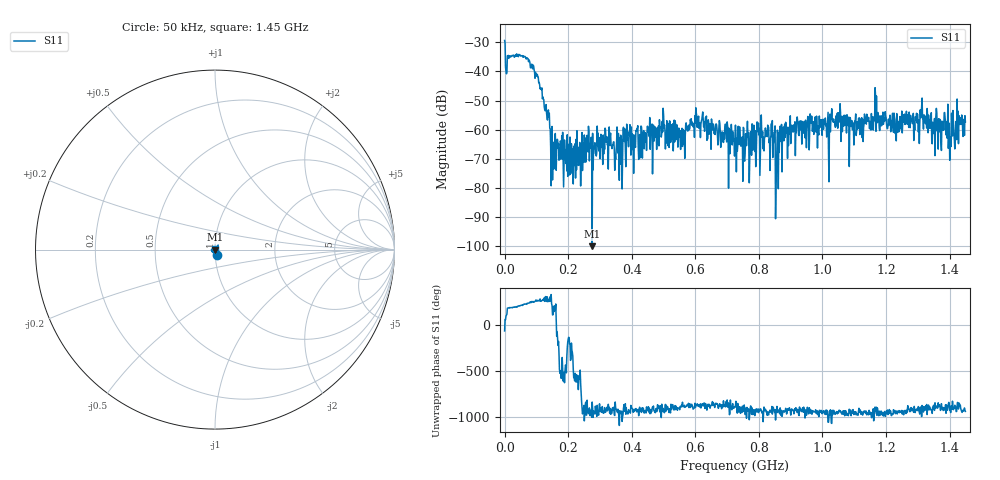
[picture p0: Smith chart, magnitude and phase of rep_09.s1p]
! Created with skrf 1.11.0 (http://scikit-rf.org).
# Hz S RI R 50.0
!freq ReS11 ImS11
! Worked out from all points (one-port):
!   1001 points, 50 kHz to 1.45 GHz, reference 50 ohm
!   lowest |S11| = -100.1 dB at 275.5 MHz (marker M1), VSWR 1.00, Z = 50 - j0.0009 ohm
!   |S11| at or under -10 dB: start of sweep to end of sweep
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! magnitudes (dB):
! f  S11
! 50 kHz  -29.3
! 84.15 MHz  -38.0
! 136.3 MHz  -55.0
! 149.4 MHz  -58.9
! 181.3 MHz  -70.2
! 275.5 MHz  -100.1
! 323.4 MHz  -65.3
! 362.5 MHz  -62.7
! 391.5 MHz  -60.8
! 404.6 MHz  -61.8
! 494.5 MHz  -61.4
! 543.8 MHz  -60.9
! 559.7 MHz  -65.8
! 606.1 MHz  -59.2
! 725 MHz  -62.1
! 825.1 MHz  -61.7
! 859.9 MHz  -62.1
! 870 MHz  -64.1
! 906.3 MHz  -58.7
! 1.018 GHz  -54.1
! 1.05 GHz  -54.2
! 1.088 GHz  -55.9
! 1.17 GHz  -48.4
! 1.235 GHz  -58.4
! 1.269 GHz  -54.9
! 1.388 GHz  -57.3
! 1.398 GHz  -62.5
! 1.45 GHz  -57.3
